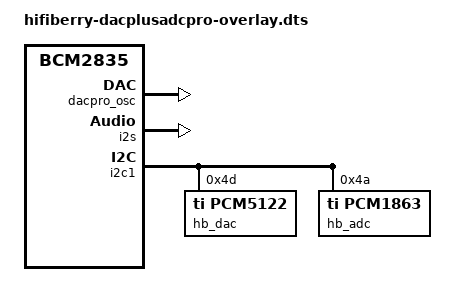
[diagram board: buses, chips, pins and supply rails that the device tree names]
// Definitions for HiFiBerry DAC+ADC PRO
/dts-v1/;
/plugin/;

/ {
	compatible = "brcm,bcm2835";

	fragment@0 {
		target-path = "/clocks";
		__overlay__ {
			dacpro_osc: dacpro_osc {
				compatible = "hifiberry,dacpro-clk";
				#clock-cells = <0>;
			};
		};
	};

	fragment@1 {
		target = <&i2s>;
		__overlay__ {
			status = "okay";
		};
	};

	fragment@2 {
		target = <&i2c1>;
		__overlay__ {
			#address-cells = <1>;
			#size-cells = <0>;
			status = "okay";

			hb_dac: pcm5122@4d {
				#sound-dai-cells = <0>;
				compatible = "ti,pcm5122";
				reg = <0x4d>;
				clocks = <&dacpro_osc>;
				status = "okay";
			};
			hb_adc: pcm186x@4a {
				#sound-dai-cells = <0>;
				compatible = "ti,pcm1863";
				reg = <0x4a>;
				clocks = <&dacpro_osc>;
				status = "okay";
			};
		};
	};

	fragment@3 {
		target = <&sound>;
		hifiberry_dacplusadcpro: __overlay__ {
			compatible = "hifiberry,hifiberry-dacplusadcpro";
			audio-codec = <&hb_dac &hb_adc>;
			i2s-controller = <&i2s>;
			status = "okay";
		};
	};

	__overrides__ {
		24db_digital_gain =
			<&hifiberry_dacplusadcpro>,"hifiberry-dacplusadcpro,24db_digital_gain?";
		slave = <&hifiberry_dacplusadcpro>,"hifiberry-dacplusadcpro,slave?";
		leds_off = <&hifiberry_dacplusadcpro>,"hifiberry-dacplusadcpro,leds_off?";
	};
};
